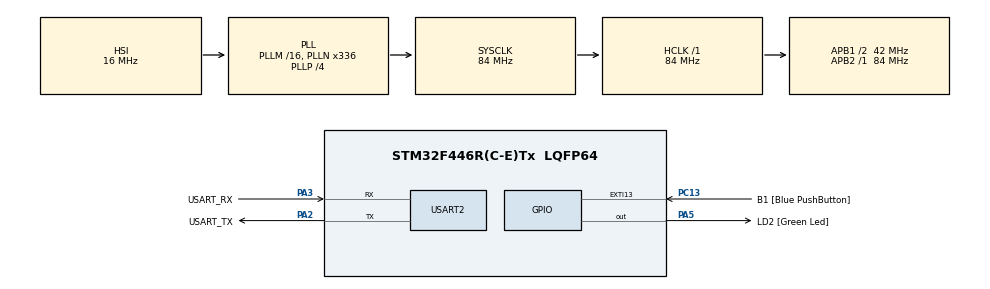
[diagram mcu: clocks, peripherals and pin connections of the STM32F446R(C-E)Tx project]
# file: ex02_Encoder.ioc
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Mcu.Family=STM32F4
Mcu.Name=STM32F446R(C-E)Tx
Mcu.Package=LQFP64
NVIC.PriorityGroup=NVIC_PRIORITYGROUP_0
PA13.GPIO_Label=TMS
PA13.Mode=Serial_Wire
PA13.Signal=SYS_JTMS-SWDIO
PA14.GPIO_Label=TCK
PA14.Mode=Serial_Wire
PA14.Signal=SYS_JTCK-SWCLK
PA2.GPIO_Label=USART_TX
PA2.Mode=Asynchronous
PA2.Signal=USART2_TX
PA3.GPIO_Label=USART_RX
PA3.Mode=Asynchronous
PA3.Signal=USART2_RX
PA5.GPIO_Label=LD2 [Green Led]
PA5.Signal=GPIO_Output
PB3.GPIO_Label=SWO
PB3.Signal=SYS_JTDO-SWO
PC13.GPIO_Label=B1 [Blue PushButton]
PC13.GPIO_ModeDefaultEXTI=GPIO_MODE_IT_FALLING
PC13.Signal=GPXTI13
PC14-OSC32_IN.Mode=LSE-External-Oscillator
PC14-OSC32_IN.Signal=RCC_OSC32_IN
PC15-OSC32_OUT.Mode=LSE-External-Oscillator
PC15-OSC32_OUT.Signal=RCC_OSC32_OUT
PH0-OSC_IN.Mode=HSE-External-Oscillator
PH0-OSC_IN.Signal=RCC_OSC_IN
PH1-OSC_OUT.Mode=HSE-External-Oscillator
PH1-OSC_OUT.Signal=RCC_OSC_OUT
ProjectManager.HeapSize=0x200
ProjectManager.StackSize=0x400
ProjectManager.TargetToolchain=STM32CubeIDE
RCC.48MHZClocksFreq_Value=84000000
RCC.AHBFreq_Value=84000000
RCC.APB1CLKDivider=RCC_HCLK_DIV2
RCC.APB1Freq_Value=42000000
RCC.APB1TimFreq_Value=84000000
RCC.APB2Freq_Value=84000000
RCC.APB2TimFreq_Value=84000000
RCC.CortexFreq_Value=84000000
RCC.FLatency-AdvancedSettings=FLASH_LATENCY_2
RCC.HCLKFreq_Value=84000000
RCC.HSE_VALUE=8000000
RCC.HSI_VALUE=16000000
RCC.PLLN=336
RCC.PLLP=RCC_PLLP_DIV4
RCC.SYSCLKFreq_VALUE=84000000
RCC.SYSCLKSource=RCC_SYSCLKSOURCE_PLLCLK
RCC.USBFreq_Value=168000000
RCC.VCOOutputFreq_Value=336000000
USART2.VirtualMode=VM_ASYNC
board=NUCLEO-F446RE

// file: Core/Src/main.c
/* USER CODE BEGIN Header */
/**
  ******************************************************************************
  * @file           : main.c
  * @brief          : Main program body
  ******************************************************************************
  * @attention
  *
  * Copyright (c) 2022 STMicroelectronics.
  * All rights reserved.
  *
  * This software is licensed under terms that can be found in the LICENSE file
  * in the root directory of this software component.
  * If no LICENSE file comes with this software, it is provided AS-IS.
  *
  ******************************************************************************
  */
/* USER CODE END Header */
#include "main.h"

/* USER CODE BEGIN Includes */
#include "stdio.h"
/* USER CODE END Includes */

/* USER CODE BEGIN PD */

#define PIN_A GPIO_PIN_13 //CLK
#define PIN_B GPIO_PIN_14 //DT
#define ENCODER_PORT GPIOB //Port

/* USER CODE END PD */

UART_HandleTypeDef huart2;

void SystemClock_Config(void);
static void MX_GPIO_Init(void);
static void MX_USART2_UART_Init(void);
/* USER CODE BEGIN PFP */
void encoderInit(GPIO_TypeDef * port, uint16_t clk, uint16_t dt);
/* USER CODE END PFP */

/* USER CODE BEGIN 0 */

/* Redefinição de função, usada pelo puts e printf */
int _write(int file, char * ptr, int len)
{
	int i = 0;
	for (i = 0; i < len; i++)
	{
		ITM_SendChar((*ptr++));
	}
	return len;
}

int encoderPosCount = 0;
int pinALast;
int aVal;
int bCW;

/* USER CODE END 0 */

int main(void)
{

  /* MCU Configuration--------------------------------------------------------*/

  /* Reset of all peripherals, Initializes the Flash interface and the Systick. */
  HAL_Init();

  /* Configure the system clock */
  SystemClock_Config();

  /* USER CODE BEGIN SysInit */

  /* Inicializa os pinos CLK e DT do encoder */
  encoderInit(ENCODER_PORT, PIN_A, PIN_B);

  /* USER CODE END SysInit */

  /* Initialize all configured peripherals */
  MX_GPIO_Init();
  MX_USART2_UART_Init();
  /* USER CODE BEGIN 2 */

//  char men[] = "Teste 123\n";

  pinALast = HAL_GPIO_ReadPin(ENCODER_PORT, PIN_A);

  /* USER CODE END 2 */

  /* Infinite loop */
  /* USER CODE BEGIN WHILE */
  while (1)
  {
//	  HAL_GPIO_TogglePin(LD2_GPIO_Port, LD2_Pin);
//	  HAL_Delay(500);

//	  HAL_UART_Transmit(&huart2, men, sizeof(men), 200);
//
//	  contador++;
//	  printf("Contador = %d\n", contador);

	  aVal = HAL_GPIO_ReadPin(ENCODER_PORT, PIN_A);
	  if (aVal != pinALast)
	  {
		  if (HAL_GPIO_ReadPin(ENCODER_PORT, PIN_B) != aVal)
		  {
			  encoderPosCount++;
			  bCW = 1;
		  }
		  else
		  {
			  bCW = 0;
			  encoderPosCount--;
		  }
		  printf("Rotacao: %d\n", bCW);
		  printf("Posicao: %d\n", encoderPosCount/2);
	  }
	  pinALast = aVal;
    /* USER CODE END WHILE */

  }
}

void SystemClock_Config(void)
{
  RCC_OscInitTypeDef RCC_OscInitStruct = {0};
  RCC_ClkInitTypeDef RCC_ClkInitStruct = {0};

  /** Configure the main internal regulator output voltage
  */
  __HAL_RCC_PWR_CLK_ENABLE();
  __HAL_PWR_VOLTAGESCALING_CONFIG(PWR_REGULATOR_VOLTAGE_SCALE3);

  /** Initializes the RCC Oscillators according to the specified parameters
  * in the RCC_OscInitTypeDef structure.
  */
  RCC_OscInitStruct.OscillatorType = RCC_OSCILLATORTYPE_HSI;
  RCC_OscInitStruct.HSIState = RCC_HSI_ON;
  RCC_OscInitStruct.HSICalibrationValue = RCC_HSICALIBRATION_DEFAULT;
  RCC_OscInitStruct.PLL.PLLState = RCC_PLL_ON;
  RCC_OscInitStruct.PLL.PLLSource = RCC_PLLSOURCE_HSI;
  RCC_OscInitStruct.PLL.PLLM = 16;
  RCC_OscInitStruct.PLL.PLLN = 336;
  RCC_OscInitStruct.PLL.PLLP = RCC_PLLP_DIV4;
  RCC_OscInitStruct.PLL.PLLQ = 2;
  RCC_OscInitStruct.PLL.PLLR = 2;
  if (HAL_RCC_OscConfig(&RCC_OscInitStruct) != HAL_OK)
  {
    Error_Handler();
  }

  /** Initializes the CPU, AHB and APB buses clocks
  */
  RCC_ClkInitStruct.ClockType = RCC_CLOCKTYPE_HCLK|RCC_CLOCKTYPE_SYSCLK
                              |RCC_CLOCKTYPE_PCLK1|RCC_CLOCKTYPE_PCLK2;
  RCC_ClkInitStruct.SYSCLKSource = RCC_SYSCLKSOURCE_PLLCLK;
  RCC_ClkInitStruct.AHBCLKDivider = RCC_SYSCLK_DIV1;
  RCC_ClkInitStruct.APB1CLKDivider = RCC_HCLK_DIV2;
  RCC_ClkInitStruct.APB2CLKDivider = RCC_HCLK_DIV1;

  if (HAL_RCC_ClockConfig(&RCC_ClkInitStruct, FLASH_LATENCY_2) != HAL_OK)
  {
    Error_Handler();
  }
}

static void MX_USART2_UART_Init(void)
{

  huart2.Instance = USART2;
  huart2.Init.BaudRate = 115200;
  huart2.Init.WordLength = UART_WORDLENGTH_8B;
  huart2.Init.StopBits = UART_STOPBITS_1;
  huart2.Init.Parity = UART_PARITY_NONE;
  huart2.Init.Mode = UART_MODE_TX_RX;
  huart2.Init.HwFlowCtl = UART_HWCONTROL_NONE;
  huart2.Init.OverSampling = UART_OVERSAMPLING_16;
  if (HAL_UART_Init(&huart2) != HAL_OK)
  {
    Error_Handler();
  }

}

static void MX_GPIO_Init(void)
{
  GPIO_InitTypeDef GPIO_InitStruct = {0};

  /* GPIO Ports Clock Enable */
  __HAL_RCC_GPIOC_CLK_ENABLE();
  __HAL_RCC_GPIOH_CLK_ENABLE();
  __HAL_RCC_GPIOA_CLK_ENABLE();
  __HAL_RCC_GPIOB_CLK_ENABLE();

  /*Configure GPIO pin Output Level */
  HAL_GPIO_WritePin(LD2_GPIO_Port, LD2_Pin, GPIO_PIN_RESET);

  /*Configure GPIO pin : B1_Pin */
  GPIO_InitStruct.Pin = B1_Pin;
  GPIO_InitStruct.Mode = GPIO_MODE_IT_FALLING;
  GPIO_InitStruct.Pull = GPIO_NOPULL;
  HAL_GPIO_Init(B1_GPIO_Port, &GPIO_InitStruct);

  /*Configure GPIO pin : LD2_Pin */
  GPIO_InitStruct.Pin = LD2_Pin;
  GPIO_InitStruct.Mode = GPIO_MODE_OUTPUT_PP;
  GPIO_InitStruct.Pull = GPIO_NOPULL;
  GPIO_InitStruct.Speed = GPIO_SPEED_FREQ_LOW;
  HAL_GPIO_Init(LD2_GPIO_Port, &GPIO_InitStruct);

}

/* USER CODE BEGIN 4 */

/**
 * @brief Inicializa pinos para usar o encoder
 * @param gpio é o port que será usado para DT e CLK
 * @param clk é a entrada CLK do encoder
 * @param dt é a entrada DT do encoder
 */
void encoderInit(GPIO_TypeDef * port, uint16_t clk, uint16_t dt)
{
	__HAL_RCC_GPIOC_CLK_ENABLE(); //Habilita clock em GPIOC
	GPIO_InitTypeDef encoder = {0}; //Cria estrutura de inicialização da GPIO para o encoder

	/* Pino CLK */
	encoder.Pin = GPIO_PIN_13;
	encoder.Mode = GPIO_MODE_INPUT;
	encoder.Pull = GPIO_PULLDOWN;
	HAL_GPIO_Init(port, &encoder);

	/* Pino DT */
	encoder.Pin = GPIO_PIN_14;
	encoder.Mode = GPIO_MODE_INPUT;
	encoder.Pull = GPIO_PULLDOWN;
	HAL_GPIO_Init(port, &encoder);
}

/* USER CODE END 4 */

void Error_Handler(void)
{
  __disable_irq();
  while (1)
  {
  }
}
